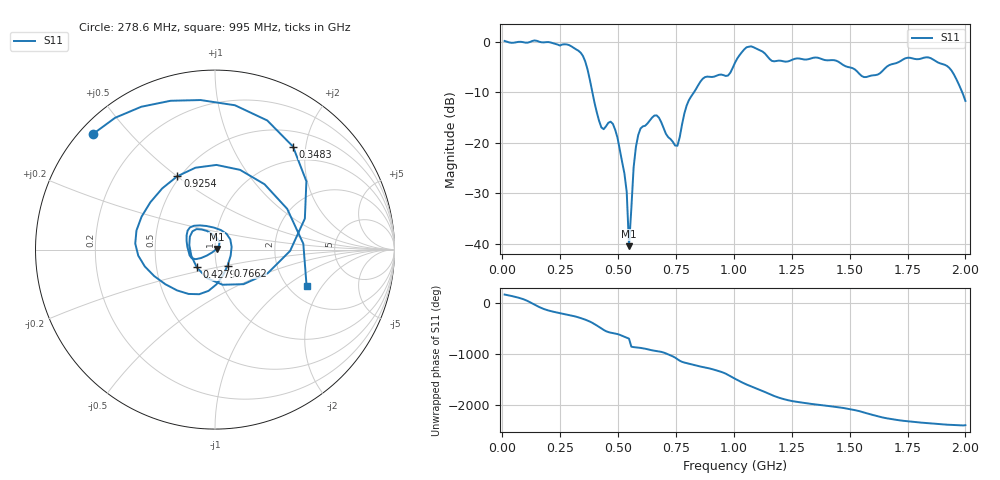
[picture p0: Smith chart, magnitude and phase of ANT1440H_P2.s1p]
!Created with skrf (http://scikit-rf.org).
# Hz S RI R 50.0
!freq ReS11 ImS11
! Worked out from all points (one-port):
!   201 points, 10 MHz to 2 GHz, reference 50 ohm
!   lowest |S11| = -40.4 dB at 547.3 MHz (marker M1), VSWR 1.02, Z = 50.9 + j0.371 ohm
!   |S11| at or under -10 dB: 388.8 MHz to 828.1 MHz (439.3 MHz wide, 72.2 % of centre); 1.986 GHz to end of sweep
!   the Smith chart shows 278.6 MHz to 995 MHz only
!   S11 on the Smith chart (normalised r, x): 278.6 MHz: 0.04, +0.40; 348.3 MHz: 0.74, +1.77; 427.9 MHz: 0.80, -0.16; 766.2 MHz: 1.13, -0.20; 925.4 MHz: 0.48, +0.50; 995 MHz: 2.48, -1.45
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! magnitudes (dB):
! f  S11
! 10 MHz  0.1
! 258.8 MHz  -0.6
! 278.6 MHz  -0.6
! 348.3 MHz  -2.9
! 427.9 MHz  -17.0
! 477.6 MHz  -16.3
! 507.5 MHz  -21.4
! 537.4 MHz  -29.7
! 547.3 MHz  -40.4
! 567.2 MHz  -24.8
! 577.1 MHz  -20.8
! 597 MHz  -17.2
! 666.7 MHz  -14.6
! 756.2 MHz  -20.6
! 766.2 MHz  -18.9
! 806 MHz  -11.6
! 865.7 MHz  -7.4
! 925.4 MHz  -6.8
! 995 MHz  -5.2
! 1.005 GHz  -4.2
! 1.075 GHz  -1.0
! 1.164 GHz  -3.8
! 1.254 GHz  -3.6
! 1.502 GHz  -5.1
! 1.572 GHz  -7.0
! 1.751 GHz  -3.2
! 1.92 GHz  -4.8
! 2 GHz  -11.7
